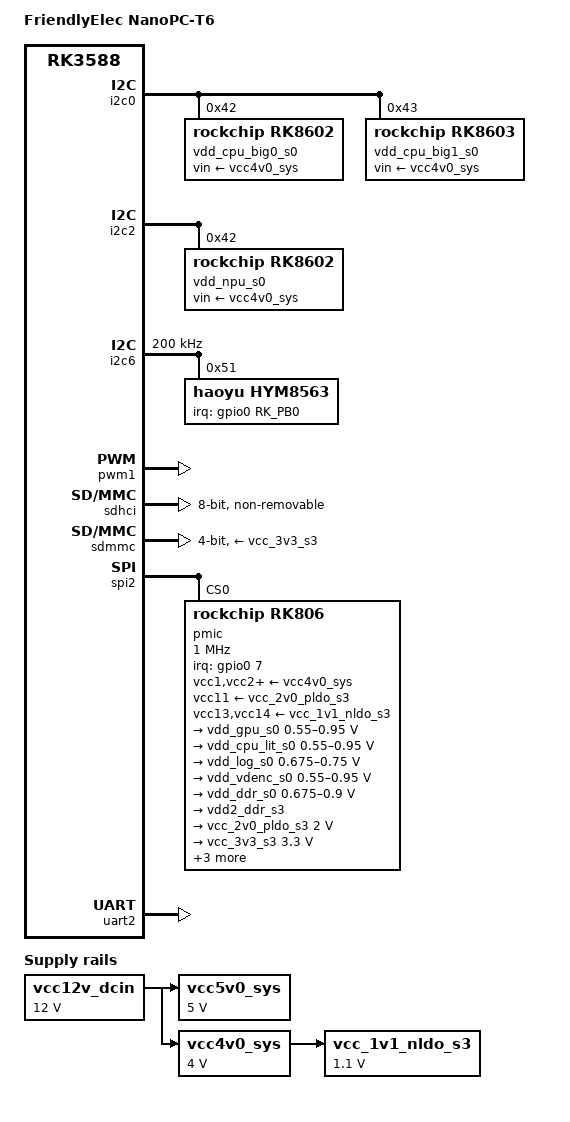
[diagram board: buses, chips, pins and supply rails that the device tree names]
// SPDX-License-Identifier: (GPL-2.0+ OR MIT)
/*
 * Copyright (c) 2021 Rockchip Electronics Co., Ltd.
 * Copyright (c) 2023 Thomas McKahan
 *
 */

/dts-v1/;

#include <dt-bindings/gpio/gpio.h>
#include <dt-bindings/pinctrl/rockchip.h>
#include "rk3588.dtsi"

/ {
	model = "FriendlyElec NanoPC-T6";
	compatible = "rockchip,rk3588-nanopc-t6", "rockchip,rk3588";

	aliases {
		mmc0 = &sdmmc;
		// mmc1 = &sdio;  // needs SDIO patch
		mmc2 = &sdhci;
		serial2 = &uart2;
	};

	chosen {
		stdout-path = "serial2:1500000n8";
	};

	vcc12v_dcin: vcc12v-dcin-regulator {
		compatible = "regulator-fixed";
		regulator-name = "vcc12v_dcin";
		regulator-always-on;
		regulator-boot-on;
		regulator-min-microvolt = <12000000>;
		regulator-max-microvolt = <12000000>;
	};

	vcc5v0_sys: vcc5v0-sys-regulator {
		compatible = "regulator-fixed";
		regulator-name = "vcc5v0_sys";
		regulator-always-on;
		regulator-boot-on;
		regulator-min-microvolt = <5000000>;
		regulator-max-microvolt = <5000000>;
		vin-supply = <&vcc12v_dcin>;
	};

	vcc4v0_sys: vcc4v0-sys-regulator {
		compatible = "regulator-fixed";
		regulator-name = "vcc4v0_sys";
		regulator-always-on;
		regulator-boot-on;
		regulator-min-microvolt = <4000000>;
		regulator-max-microvolt = <4000000>;
		vin-supply = <&vcc12v_dcin>;
	};

	vcc_1v1_nldo_s3: vcc-1v1-nldo-s3-regulator {
		compatible = "regulator-fixed";
		regulator-name = "vcc-1v1-nldo-s3";
		regulator-always-on;
		regulator-boot-on;
		regulator-min-microvolt = <1100000>;
		regulator-max-microvolt = <1100000>;
		vin-supply = <&vcc4v0_sys>;
	};
};

&cpu_l0 {
	cpu-supply = <&vdd_cpu_lit_s0>;
};

&cpu_l1 {
	cpu-supply = <&vdd_cpu_lit_s0>;
};

&cpu_l2 {
	cpu-supply = <&vdd_cpu_lit_s0>;
};

&cpu_l3 {
	cpu-supply = <&vdd_cpu_lit_s0>;
};

&cpu_b0{
	cpu-supply = <&vdd_cpu_big0_s0>;
};

&cpu_b1{
	cpu-supply = <&vdd_cpu_big0_s0>;
};

&cpu_b2{
	cpu-supply = <&vdd_cpu_big1_s0>;
};

&cpu_b3{
	cpu-supply = <&vdd_cpu_big1_s0>;
};

&i2c0 {
	pinctrl-names = "default";
	pinctrl-0 = <&i2c0m2_xfer>;
	status = "okay";

	vdd_cpu_big0_s0: regulator@42 {
		compatible = "rockchip,rk8602";
		reg = <0x42>;
		fcs,suspend-voltage-selector = <1>;
		regulator-name = "vdd_cpu_big0_s0";
		regulator-always-on;
		regulator-boot-on;
		regulator-min-microvolt = <550000>;
		regulator-max-microvolt = <1050000>;
		regulator-ramp-delay = <2300>;
		vin-supply = <&vcc4v0_sys>;

		regulator-state-mem {
			regulator-off-in-suspend;
		};
	};

	vdd_cpu_big1_s0: regulator@43 {
		compatible = "rockchip,rk8603", "rockchip,rk8602";
		reg = <0x43>;
		fcs,suspend-voltage-selector = <1>;
		regulator-name = "vdd_cpu_big1_s0";
		regulator-always-on;
		regulator-boot-on;
		regulator-min-microvolt = <550000>;
		regulator-max-microvolt = <1050000>;
		regulator-ramp-delay = <2300>;
		vin-supply = <&vcc4v0_sys>;

		regulator-state-mem {
			regulator-off-in-suspend;
		};
	};
};

&i2c2 {
	status = "okay";

	vdd_npu_s0: regulator@42 {
		compatible = "rockchip,rk8602";
		reg = <0x42>;
		rockchip,suspend-voltage-selector = <1>;
		regulator-name = "vdd_npu_s0";
		regulator-always-on;
		regulator-boot-on;
		regulator-min-microvolt = <550000>;
		regulator-max-microvolt = <950000>;
		regulator-ramp-delay = <2300>;
		vin-supply = <&vcc4v0_sys>;

		regulator-state-mem {
			regulator-off-in-suspend;
		};
	};
};

&i2c6 {
	clock-frequency = <200000>;
	status = "okay";

	hym8563: hym8563@51 {
		compatible = "haoyu,hym8563";
		reg = <0x51>;
		#clock-cells = <0>;
		clock-output-names = "hym8563";
		pinctrl-names = "default";
		pinctrl-0 = <&hym8563_int>;
		interrupt-parent = <&gpio0>;
		interrupts = <RK_PB0 IRQ_TYPE_LEVEL_LOW>;
		wakeup-source;
	};

};

&pinctrl {

	hym8563 {
		hym8563_int: hym8563-int {
			rockchip,pins = <0 RK_PB0 RK_FUNC_GPIO &pcfg_pull_up>;
		};
	};
};

&pwm1 {
	pinctrl-0 = <&pwm1m1_pins>;
	status = "okay";
};

&sdhci {
	bus-width = <8>;
	no-sdio;
	no-sd;
	non-removable;
	max-frequency = <200000000>;
	mmc-hs400-1_8v;
	mmc-hs400-enhanced-strobe;
	status = "okay";
};

&sdmmc {
	max-frequency = <200000000>;
	no-sdio;
	no-mmc;
	bus-width = <4>;
	cap-mmc-highspeed;
	cap-sd-highspeed;
	disable-wp;
	sd-uhs-sdr104;
	vmmc-supply = <&vcc_3v3_s3>;
	vqmmc-supply = <&vccio_sd_s0>;
	status = "okay";
};

&spi2 {
	status = "okay";
	assigned-clocks = <&cru CLK_SPI2>;
	assigned-clock-rates = <200000000>;
	pinctrl-names = "default";
	pinctrl-0 = <&spi2m2_cs0 &spi2m2_pins>;
	num-cs = <1>;

	pmic@0 {
		compatible = "rockchip,rk806";
		spi-max-frequency = <1000000>;
		reg = <0x0>;

		interrupt-parent = <&gpio0>;
		interrupts = <7 IRQ_TYPE_LEVEL_LOW>;

		pinctrl-names = "default";
		pinctrl-0 = <&pmic_pins>, <&rk806_dvs1_null>,
			    <&rk806_dvs2_null>, <&rk806_dvs3_null>;

		vcc1-supply = <&vcc4v0_sys>;
		vcc2-supply = <&vcc4v0_sys>;
		vcc3-supply = <&vcc4v0_sys>;
		vcc4-supply = <&vcc4v0_sys>;
		vcc5-supply = <&vcc4v0_sys>;
		vcc6-supply = <&vcc4v0_sys>;
		vcc7-supply = <&vcc4v0_sys>;
		vcc8-supply = <&vcc4v0_sys>;
		vcc9-supply = <&vcc4v0_sys>;
		vcc10-supply = <&vcc4v0_sys>;
		vcc11-supply = <&vcc_2v0_pldo_s3>;
		vcc12-supply = <&vcc4v0_sys>;
		vcc13-supply = <&vcc_1v1_nldo_s3>;
		vcc14-supply = <&vcc_1v1_nldo_s3>;
		vcca-supply = <&vcc4v0_sys>;

		gpio-controller;
		#gpio-cells = <2>;

		rk806_dvs1_null: dvs1-null-pins {
			pins = "gpio_pwrctrl2";
			function = "pin_fun0";
		};

		rk806_dvs2_null: dvs2-null-pins {
			pins = "gpio_pwrctrl2";
			function = "pin_fun0";
		};

		rk806_dvs3_null: dvs3-null-pins {
			pins = "gpio_pwrctrl3";
			function = "pin_fun0";
		};

		regulators {
			vdd_gpu_s0: vdd_gpu_mem_s0: dcdc-reg1 {
				regulator-boot-on;
				regulator-min-microvolt = <550000>;
				regulator-max-microvolt = <950000>;
				regulator-ramp-delay = <12500>;
				regulator-name = "vdd_gpu_s0";
				regulator-enable-ramp-delay = <400>;

				regulator-state-mem {
					regulator-off-in-suspend;
				};
			};

			vdd_cpu_lit_s0: vdd_cpu_lit_mem_s0: dcdc-reg2 {
				regulator-always-on;
				regulator-boot-on;
				regulator-min-microvolt = <550000>;
				regulator-max-microvolt = <950000>;
				regulator-ramp-delay = <12500>;
				regulator-name = "vdd_cpu_lit_s0";

				regulator-state-mem {
					regulator-off-in-suspend;
				};
			};

			vdd_log_s0: dcdc-reg3 {
				regulator-always-on;
				regulator-boot-on;
				regulator-min-microvolt = <675000>;
				regulator-max-microvolt = <750000>;
				regulator-ramp-delay = <12500>;
				regulator-name = "vdd_log_s0";

				regulator-state-mem {
					regulator-off-in-suspend;
					regulator-suspend-microvolt = <750000>;
				};
			};

			vdd_vdenc_s0: vdd_vdenc_mem_s0: dcdc-reg4 {
				regulator-always-on;
				regulator-boot-on;
				regulator-min-microvolt = <550000>;
				regulator-max-microvolt = <950000>;
				regulator-init-microvolt = <750000>;
				regulator-ramp-delay = <12500>;
				regulator-name = "vdd_vdenc_s0";

				regulator-state-mem {
					regulator-off-in-suspend;
				};
			};

			vdd_ddr_s0: dcdc-reg5 {
				regulator-always-on;
				regulator-boot-on;
				regulator-min-microvolt = <675000>;
				regulator-max-microvolt = <900000>;
				regulator-ramp-delay = <12500>;
				regulator-name = "vdd_ddr_s0";

				regulator-state-mem {
					regulator-off-in-suspend;
					regulator-suspend-microvolt = <850000>;
				};
			};

			vdd2_ddr_s3: dcdc-reg6 {
				regulator-always-on;
				regulator-boot-on;
				regulator-name = "vdd2_ddr_s3";

				regulator-state-mem {
					regulator-on-in-suspend;
				};
			};

			vcc_2v0_pldo_s3: dcdc-reg7 {
				regulator-always-on;
				regulator-boot-on;
				regulator-min-microvolt = <2000000>;
				regulator-max-microvolt = <2000000>;
				regulator-ramp-delay = <12500>;
				regulator-name = "vdd_2v0_pldo_s3";

				regulator-state-mem {
					regulator-on-in-suspend;
					regulator-suspend-microvolt = <2000000>;
				};
			};

			vcc_3v3_s3: dcdc-reg8 {
				regulator-always-on;
				regulator-boot-on;
				regulator-min-microvolt = <3300000>;
				regulator-max-microvolt = <3300000>;
				regulator-name = "vcc_3v3_s3";

				regulator-state-mem {
					regulator-on-in-suspend;
					regulator-suspend-microvolt = <3300000>;
				};
			};

			vddq_ddr_s0: dcdc-reg9 {
				regulator-always-on;
				regulator-boot-on;
				regulator-name = "vddq_ddr_s0";

				regulator-state-mem {
					regulator-off-in-suspend;
				};
			};

			vcc_1v8_s3: dcdc-reg10 {
				regulator-always-on;
				regulator-boot-on;
				regulator-min-microvolt = <1800000>;
				regulator-max-microvolt = <1800000>;
				regulator-name = "vcc_1v8_s3";

				regulator-state-mem {
					regulator-on-in-suspend;
					regulator-suspend-microvolt = <1800000>;
				};
			};

			avcc_1v8_s0: pldo-reg1 {
				regulator-always-on;
				regulator-boot-on;
				regulator-min-microvolt = <1800000>;
				regulator-max-microvolt = <1800000>;
				regulator-name = "avcc_1v8_s0";

				regulator-state-mem {
					regulator-off-in-suspend;
				};
			};

			vcc_1v8_s0: pldo-reg2 {
				regulator-always-on;
				regulator-boot-on;
				regulator-min-microvolt = <1800000>;
				regulator-max-microvolt = <1800000>;
				regulator-name = "vcc_1v8_s0";

				regulator-state-mem {
					regulator-off-in-suspend;
					regulator-suspend-microvolt = <1800000>;
				};
			};

			avdd_1v2_s0: pldo-reg3 {
				regulator-always-on;
				regulator-boot-on;
				regulator-min-microvolt = <1200000>;
				regulator-max-microvolt = <1200000>;
				regulator-name = "avdd_1v2_s0";

				regulator-state-mem {
					regulator-off-in-suspend;
				};
			};

			vcc_3v3_s0: pldo-reg4 {
				regulator-always-on;
				regulator-boot-on;
				regulator-min-microvolt = <3300000>;
				regulator-max-microvolt = <3300000>;
				regulator-ramp-delay = <12500>;
				regulator-name = "vcc_3v3_s0";

				regulator-state-mem {
					regulator-off-in-suspend;
				};
			};

			vccio_sd_s0: pldo-reg5 {
				regulator-always-on;
				regulator-boot-on;
				regulator-min-microvolt = <1800000>;
				regulator-max-microvolt = <3300000>;
				regulator-ramp-delay = <12500>;
				regulator-name = "vccio_sd_s0";

				regulator-state-mem {
					regulator-off-in-suspend;
				};
			};

			pldo6_s3: pldo-reg6 {
				regulator-always-on;
				regulator-boot-on;
				regulator-min-microvolt = <1800000>;
				regulator-max-microvolt = <1800000>;
				regulator-name = "pldo6_s3";

				regulator-state-mem {
					regulator-on-in-suspend;
					regulator-suspend-microvolt = <1800000>;
				};
			};

			vdd_0v75_s3: nldo-reg1 {
				regulator-always-on;
				regulator-boot-on;
				regulator-min-microvolt = <750000>;
				regulator-max-microvolt = <750000>;
				regulator-name = "vdd_0v75_s3";

				regulator-state-mem {
					regulator-on-in-suspend;
					regulator-suspend-microvolt = <750000>;
				};
			};

			vdd_ddr_pll_s0: nldo-reg2 {
				regulator-always-on;
				regulator-boot-on;
				regulator-min-microvolt = <850000>;
				regulator-max-microvolt = <850000>;
				regulator-name = "vdd_ddr_pll_s0";

				regulator-state-mem {
					regulator-off-in-suspend;
					regulator-suspend-microvolt = <850000>;
				};
			};

			avdd_0v75_s0: nldo-reg3 {
				regulator-always-on;
				regulator-boot-on;
				regulator-min-microvolt = <750000>;
				regulator-max-microvolt = <750000>;
				regulator-name = "avdd_0v75_s0";

				regulator-state-mem {
					regulator-off-in-suspend;
				};
			};

			vdd_0v85_s0: nldo-reg4 {
				regulator-always-on;
				regulator-boot-on;
				regulator-min-microvolt = <850000>;
				regulator-max-microvolt = <850000>;
				regulator-name = "vdd_0v85_s0";

				regulator-state-mem {
					regulator-off-in-suspend;
				};
			};

			vdd_0v75_s0: nldo-reg5 {
				regulator-always-on;
				regulator-boot-on;
				regulator-min-microvolt = <750000>;
				regulator-max-microvolt = <750000>;
				regulator-name = "vdd_0v75_s0";

				regulator-state-mem {
					regulator-off-in-suspend;
				};
			};
		};
	};
};

&uart2 {
	pinctrl-0 = <&uart2m0_xfer>;
	status = "okay";
};
